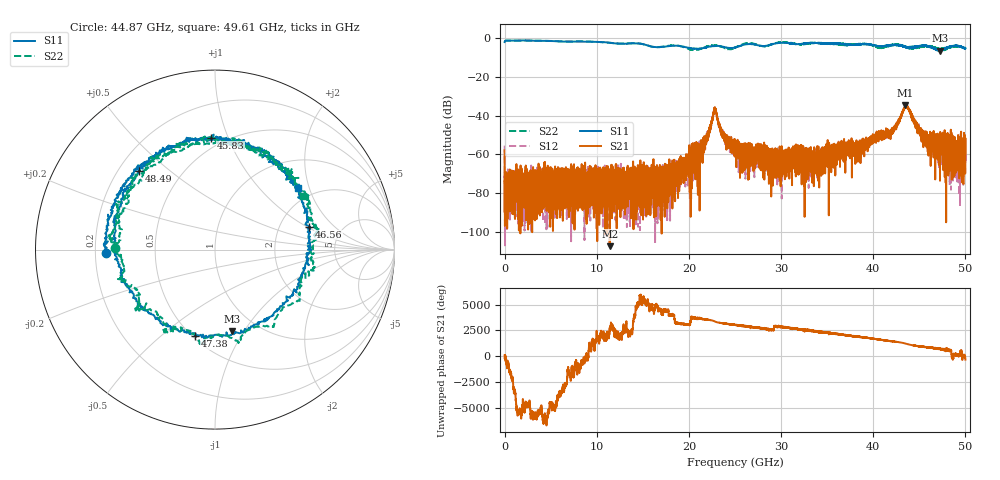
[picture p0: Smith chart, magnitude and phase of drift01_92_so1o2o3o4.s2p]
!Created with skrf (http://scikit-rf.org).
# Hz S RI R 50.0
!freq ReS11 ImS11 ReS21 ImS21 ReS12 ImS12 ReS22 ImS22
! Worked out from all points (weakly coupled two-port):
!   10001 points, 300 kHz to 50 GHz, reference 50 ohm
!   highest |S21| = -34.65 dB at 43.48 GHz (marker M1); lowest = -107.2 dB at 11.4 GHz (marker M2)
!   lowest |S11| = -6.7 dB at 47.21 GHz (marker M3), VSWR 2.73, Z = 38.5 - j44.4 ohm
!   |S11| at or under -10 dB: nowhere
!   |S22| runs from -6.5 to -1.4 dB; largest |S21 - S12| = 0.0037
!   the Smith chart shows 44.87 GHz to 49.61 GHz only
!   S11 on the Smith chart (normalised r, x): 44.87 GHz: 0.25, -0.01; 45.83 GHz: 0.43, +0.87; 46.56 GHz: 2.93, +1.07; 47.38 GHz: 0.51, -0.65; 48.49 GHz: 0.28, +0.39; 49.61 GHz: 1.65, +1.68
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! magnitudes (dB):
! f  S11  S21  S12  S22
! 300 kHz  -2.1  -57.8  -55.4  -2.1
! 255.3 MHz  -1.4  -78.3  -75.4  -1.4
! 360.3 MHz  -1.4  -73.7  -67.6  -1.4
! 8.335 GHz  -1.9  -76.6  -82.4  -1.8
! 11.4 GHz  -2.5  -107.2  -75.8  -2.6
! 16.67 GHz  -4.8  -73.6  -69.7  -4.8
! 21.15 GHz  -5.6  -55.6  -55.7  -5.9
! 22.79 GHz  -4.3  -36.3  -36.3  -4.0
! 23.68 GHz  -4.6  -50.8  -47.5  -4.9
! 25 GHz  -5.0  -56.1  -59.5  -5.1
! 29.79 GHz  -2.6  -59.7  -61.7  -2.4
! 33.34 GHz  -2.6  -62.1  -58.8  -2.6
! 41.67 GHz  -3.9  -50.3  -51.2  -4.4
! 43.48 GHz  -4.6  -34.6  -35.0  -4.7
! 44.87 GHz  -4.3  -47.3  -46.4  -5.1
! 45.83 GHz  -4.1  -51.1  -51.0  -4.6
! 46.56 GHz  -5.3  -52.1  -51.6  -4.9
! 47.21 GHz  -6.7  -54.3  -55.7  -5.9
! 47.38 GHz  -6.1  -56.6  -65.0  -5.6
! 48.49 GHz  -4.3  -48.7  -56.2  -4.9
! 49.61 GHz  -4.8  -68.2  -64.4  -4.9
! 50 GHz  -5.5  -59.4  -58.9  -5.4
